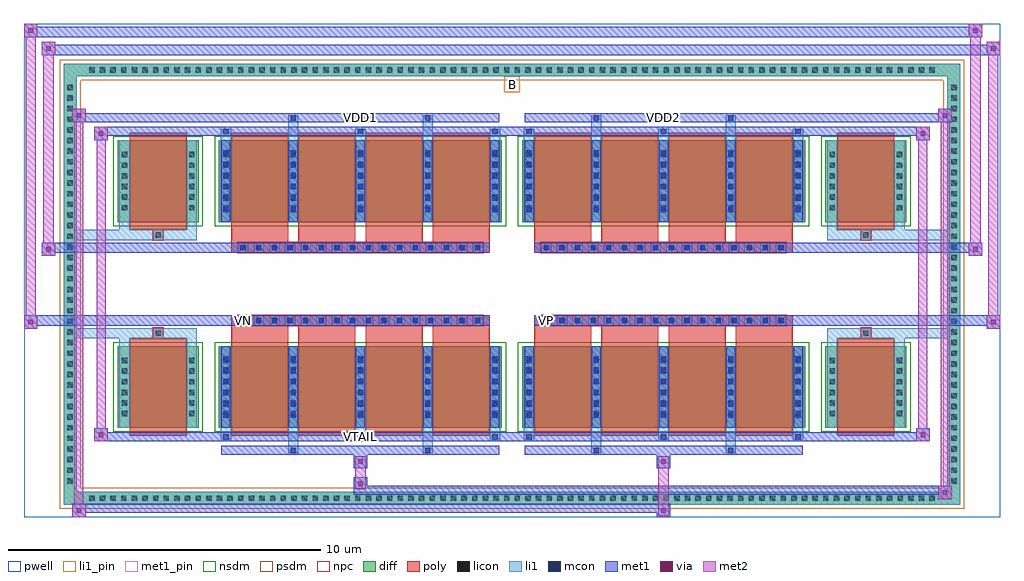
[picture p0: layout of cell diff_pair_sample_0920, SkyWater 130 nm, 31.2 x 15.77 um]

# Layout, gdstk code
import gdstk
lib = gdstk.Library(unit=1e-6, precision=5e-09)
def R(c, l, rs):  # rectangles x0, y0, x1, y1
    for r in rs: c.add(gdstk.rectangle(r[:2], r[2:], *l))
def A(c, l, x, y, w, h, nx, ny, dx, dy):  # array of equal rectangles
    R(c, l, [(x+i*dx, y+j*dy, x+i*dx+w, y+j*dy+h) for i in range(nx) for j in range(ny)])
def P(c, l, *ps):  # polygons
    for p in ps: c.add(gdstk.Polygon(p, *l))
pwell = (64, 44)
diff = (65, 20)
poly = (66, 20)
licon = (66, 44)
li1_pin = (67, 16)
li1 = (67, 20)
mcon = (67, 44)
met1_pin = (68, 16)
met1 = (68, 20)
via = (68, 44)
met2 = (69, 20)
nsdm = (93, 44)
psdm = (94, 20)
npc = (95, 20)

diff_pair_sample_0920 = lib.new_cell('diff_pair_sample_0920')
R(diff_pair_sample_0920, pwell, [(-15.6,-7.45,15.6,8.32), (-12.92,-5.64,-0.01,-0.8), (0.01,-5.64,12.92,-0.8), (-12.92,0.8,-0.01,5.64), (0.01,0.8,12.92,5.64)])
A(diff_pair_sample_0920, diff, -13.635, -7.05, 0.41, 0.41, 80, 2, 0.34, 13.69)
A(diff_pair_sample_0920, diff, -14.33, -6.495, 0.41, 0.41, 1, 38, 0, 0.34)
A(diff_pair_sample_0920, diff, 13.92, -6.495, 0.41, 0.41, 1, 38, 0, 0.34)
R(diff_pair_sample_0920, diff, [(-13.635,-7.05,13.635,-6.64), (-14.33,-6.495,-13.92,6.495), (13.92,-6.495,14.33,6.495), (-12.61,-4.595,-10.01,-1.985), (-9.37,-4.595,-0.32,-1.985), (0.32,-4.595,9.37,-1.985), (10.01,-4.595,12.61,-1.985), (-12.61,1.985,-10.01,4.595), (-9.37,1.985,-0.32,4.595), (0.32,1.985,9.37,4.595), (10.01,1.985,12.61,4.595), (-13.635,6.64,13.635,7.05)])
P(diff_pair_sample_0920, diff, [(14.33,7.05),(-14.33,7.05),(-14.33,-6.64),(-13.92,-6.64),(-13.92,6.64),(13.92,6.64),(13.92,-6.64),(-13.92,-6.64),(-14.33,-6.64),(-14.33,-7.05),(14.33,-7.05)])
A(diff_pair_sample_0920, poly, -8.98, -4.845, 1.82, 3.11, 4, 2, 2.15, 6.58)
A(diff_pair_sample_0920, poly, 0.71, -4.845, 1.82, 3.11, 4, 2, 2.15, 6.58)
A(diff_pair_sample_0920, poly, -8.98, -1.735, 1.82, 0.405, 4, 2, 2.15, 3.065)
A(diff_pair_sample_0920, poly, 0.71, -1.735, 1.82, 0.405, 4, 2, 2.15, 3.065)
A(diff_pair_sample_0920, poly, -8.76, -1.33, 0.33, 0.33, 16, 2, 0.5, 2.33)
A(diff_pair_sample_0920, poly, 0.93, -1.33, 0.33, 0.33, 16, 2, 0.5, 2.33)
R(diff_pair_sample_0920, poly, [(-12.22,-4.845,-10.4,-1.735), (10.4,-4.845,12.22,-1.735), (-11.475,-1.735,-11.145,-1.405), (-11.475,-1.735,-11.145,-1.405), (11.145,-1.735,11.475,-1.405), (11.145,-1.735,11.475,-1.405), (-8.98,-1.33,-0.71,-1), (0.71,-1.33,8.98,-1), (-8.98,1,-0.71,1.33), (0.71,1,8.98,1.33), (-11.475,1.405,-11.145,1.735), (-11.475,1.405,-11.145,1.735), (11.145,1.405,11.475,1.735), (11.145,1.405,11.475,1.735), (-12.22,1.735,-10.4,4.845), (10.4,1.735,12.22,4.845)])
A(diff_pair_sample_0920, licon, -13.515, -6.93, 0.17, 0.17, 80, 2, 0.34, 13.69)
A(diff_pair_sample_0920, licon, -14.21, -6.375, 0.17, 0.17, 1, 38, 0, 0.34)
A(diff_pair_sample_0920, licon, 14.04, -6.375, 0.17, 0.17, 1, 38, 0, 0.34)
A(diff_pair_sample_0920, licon, -12.47, -4.225, 0.17, 0.17, 1, 6, 0, 0.34)
A(diff_pair_sample_0920, licon, -10.32, -4.225, 0.17, 0.17, 1, 6, 0, 0.34)
A(diff_pair_sample_0920, licon, -9.23, -4.225, 0.17, 0.17, 5, 6, 2.15, 0.34)
A(diff_pair_sample_0920, licon, 0.46, -4.225, 0.17, 0.17, 5, 6, 2.15, 0.34)
A(diff_pair_sample_0920, licon, 10.15, -4.225, 0.17, 0.17, 1, 6, 0, 0.34)
A(diff_pair_sample_0920, licon, 12.3, -4.225, 0.17, 0.17, 1, 6, 0, 0.34)
A(diff_pair_sample_0920, licon, -8.68, -1.25, 0.17, 0.17, 16, 2, 0.5, 2.33)
A(diff_pair_sample_0920, licon, 1.01, -1.25, 0.17, 0.17, 16, 2, 0.5, 2.33)
A(diff_pair_sample_0920, licon, -12.47, 2.355, 0.17, 0.17, 1, 6, 0, 0.34)
A(diff_pair_sample_0920, licon, -10.32, 2.355, 0.17, 0.17, 1, 6, 0, 0.34)
A(diff_pair_sample_0920, licon, -9.23, 2.355, 0.17, 0.17, 5, 6, 2.15, 0.34)
A(diff_pair_sample_0920, licon, 0.46, 2.355, 0.17, 0.17, 5, 6, 2.15, 0.34)
A(diff_pair_sample_0920, licon, 10.15, 2.355, 0.17, 0.17, 1, 6, 0, 0.34)
A(diff_pair_sample_0920, licon, 12.3, 2.355, 0.17, 0.17, 1, 6, 0, 0.34)
R(diff_pair_sample_0920, licon, [(-11.395,-1.655,-11.225,-1.485), (11.225,-1.655,11.395,-1.485), (-11.395,1.485,-11.225,1.655), (11.225,1.485,11.395,1.655)])
R(diff_pair_sample_0920, li1_pin, [(-0.25,6.14,0.25,6.64)])
A(diff_pair_sample_0920, li1, -13.595, -7.01, 0.33, 0.33, 80, 2, 0.34, 13.69)
A(diff_pair_sample_0920, li1, -14.29, -6.455, 0.33, 0.33, 1, 38, 0, 0.34)
A(diff_pair_sample_0920, li1, 13.96, -6.455, 0.33, 0.33, 1, 38, 0, 0.34)
A(diff_pair_sample_0920, li1, -9.31, -4.97, 0.33, 0.375, 3, 2, 4.3, 9.565)
A(diff_pair_sample_0920, li1, -9.23, -4.97, 0.17, 0.17, 3, 2, 4.3, 9.77)
A(diff_pair_sample_0920, li1, 0.38, -4.97, 0.33, 0.375, 3, 2, 4.3, 9.565)
A(diff_pair_sample_0920, li1, 0.46, -4.97, 0.17, 0.17, 3, 2, 4.3, 9.77)
A(diff_pair_sample_0920, li1, -9.31, -4.595, 0.33, 2.61, 5, 2, 2.15, 6.58)
A(diff_pair_sample_0920, li1, 0.38, -4.595, 0.33, 2.61, 5, 2, 2.15, 6.58)
A(diff_pair_sample_0920, li1, -12.55, -4.305, 0.33, 0.33, 1, 6, 0, 0.34)
A(diff_pair_sample_0920, li1, -10.4, -4.305, 0.33, 0.33, 1, 6, 0, 0.34)
A(diff_pair_sample_0920, li1, -9.31, -4.305, 0.33, 0.33, 5, 6, 2.15, 0.34)
A(diff_pair_sample_0920, li1, 0.38, -4.305, 0.33, 0.33, 5, 6, 2.15, 0.34)
A(diff_pair_sample_0920, li1, 10.07, -4.305, 0.33, 0.33, 1, 6, 0, 0.34)
A(diff_pair_sample_0920, li1, 12.22, -4.305, 0.33, 0.33, 1, 6, 0, 0.34)
A(diff_pair_sample_0920, li1, -9.23, -4.275, 0.17, 0.17, 5, 6, 2.15, 0.36)
A(diff_pair_sample_0920, li1, -9.23, -4.275, 0.17, 1.97, 5, 2, 2.15, 6.58)
A(diff_pair_sample_0920, li1, 0.46, -4.275, 0.17, 0.17, 5, 6, 2.15, 0.36)
A(diff_pair_sample_0920, li1, 0.46, -4.275, 0.17, 1.97, 5, 2, 2.15, 6.58)
A(diff_pair_sample_0920, li1, -8.76, -1.33, 0.33, 0.33, 16, 2, 0.5, 2.33)
A(diff_pair_sample_0920, li1, 0.93, -1.33, 0.33, 0.33, 16, 2, 0.5, 2.33)
A(diff_pair_sample_0920, li1, -12.55, 2.275, 0.33, 0.33, 1, 6, 0, 0.34)
A(diff_pair_sample_0920, li1, -10.4, 2.275, 0.33, 0.33, 1, 6, 0, 0.34)
A(diff_pair_sample_0920, li1, -9.31, 2.275, 0.33, 0.33, 5, 6, 2.15, 0.34)
A(diff_pair_sample_0920, li1, 0.38, 2.275, 0.33, 0.33, 5, 6, 2.15, 0.34)
A(diff_pair_sample_0920, li1, 10.07, 2.275, 0.33, 0.33, 1, 6, 0, 0.34)
A(diff_pair_sample_0920, li1, 12.22, 2.275, 0.33, 0.33, 1, 6, 0, 0.34)
A(diff_pair_sample_0920, li1, -9.23, 2.305, 0.17, 0.17, 5, 6, 2.15, 0.36)
A(diff_pair_sample_0920, li1, 0.46, 2.305, 0.17, 0.17, 5, 6, 2.15, 0.36)
R(diff_pair_sample_0920, li1, [(-14.33,-7.05,-13.92,-6.64), (-14.33,-7.05,-13.92,-6.64), (-13.92,-7.05,13.92,-6.64), (13.92,-7.05,14.33,-6.64), (13.92,-7.05,14.33,-6.64), (-14.33,-6.64,-13.92,6.64), (13.92,-6.64,14.33,6.64), (-7.16,-5.4,-6.83,-4.595), (-7.08,-5.4,-6.91,-5.23), (-2.86,-5.4,-2.53,-4.595), (-2.78,-5.4,-2.61,-5.23), (2.53,-5.4,2.86,-4.595), (2.61,-5.4,2.78,-5.23), (6.83,-5.4,7.16,-4.595), (6.91,-5.4,7.08,-5.23), (-12.55,-4.595,-12.22,-1.985), (-10.4,-4.595,-10.07,-1.985), (10.07,-4.595,10.4,-1.985), (12.22,-4.595,12.55,-1.985), (-12.55,-1.985,-12.22,-1.405), (-10.4,-1.985,-10.07,-1.405), (10.07,-1.985,10.4,-1.405), (12.22,-1.985,12.55,-1.405), (-14.33,-1.735,-11.475,-1.405), (-12.55,-1.735,-11.475,-1.405), (-11.475,-1.735,-11.145,-1.405), (-11.145,-1.735,-10.07,-1.405), (10.07,-1.735,11.145,-1.405), (11.145,-1.735,11.475,-1.405), (11.145,-1.735,14.33,-1.405), (11.475,-1.735,12.55,-1.405), (-14.33,1.405,-11.475,1.735), (-12.55,1.405,-11.475,1.735), (-12.55,1.405,-12.22,1.985), (-11.475,1.405,-11.145,1.735), (-11.145,1.405,-10.07,1.735), (-10.4,1.405,-10.07,1.985), (10.07,1.405,11.145,1.735), (10.07,1.405,10.4,1.985), (11.145,1.405,11.475,1.735), (11.145,1.405,14.33,1.735), (11.475,1.405,12.55,1.735), (12.22,1.405,12.55,1.985), (-12.55,1.985,-12.22,4.595), (-10.4,1.985,-10.07,4.595), (10.07,1.985,10.4,4.595), (12.22,1.985,12.55,4.595), (-7.16,4.595,-6.83,5.4), (-2.86,4.595,-2.53,5.4), (2.53,4.595,2.86,5.4), (6.83,4.595,7.16,5.4), (-7.08,5.23,-6.91,5.4), (-2.78,5.23,-2.61,5.4), (2.61,5.23,2.78,5.4), (6.91,5.23,7.08,5.4), (-14.33,6.64,-13.92,7.05), (-14.33,6.64,-13.92,7.05), (-13.92,6.64,13.92,7.05), (13.92,6.64,14.33,7.05), (13.92,6.64,14.33,7.05)])
A(diff_pair_sample_0920, mcon, -9.23, -4.97, 0.17, 0.17, 3, 2, 4.3, 9.77)
A(diff_pair_sample_0920, mcon, 0.46, -4.97, 0.17, 0.17, 3, 2, 4.3, 9.77)
A(diff_pair_sample_0920, mcon, -9.23, -4.275, 0.17, 0.17, 5, 6, 2.15, 0.36)
A(diff_pair_sample_0920, mcon, 0.46, -4.275, 0.17, 0.17, 5, 6, 2.15, 0.36)
A(diff_pair_sample_0920, mcon, -8.68, -1.25, 0.17, 0.17, 16, 2, 0.5, 2.33)
A(diff_pair_sample_0920, mcon, 1.01, -1.25, 0.17, 0.17, 16, 2, 0.5, 2.33)
A(diff_pair_sample_0920, mcon, -9.23, 2.305, 0.17, 0.17, 5, 6, 2.15, 0.36)
A(diff_pair_sample_0920, mcon, 0.46, 2.305, 0.17, 0.17, 5, 6, 2.15, 0.36)
R(diff_pair_sample_0920, mcon, [(-7.08,-5.4,-6.91,-5.23), (-2.78,-5.4,-2.61,-5.23), (2.61,-5.4,2.78,-5.23), (6.91,-5.4,7.08,-5.23), (-7.08,5.23,-6.91,5.4), (-2.78,5.23,-2.61,5.4), (2.61,5.23,2.78,5.4), (6.91,5.23,7.08,5.4)])
R(diff_pair_sample_0920, met1_pin, [(-4.98,-5.01,-4.71,-4.74), (-8.73,-1.29,-8.46,-1.02), (0.96,-1.29,1.23,-1.02), (-4.98,5.19,-4.71,5.46), (4.71,5.19,4.98,5.46)])
A(diff_pair_sample_0920, met1, -9.29, -5.03, 0.29, 0.29, 3, 2, 4.3, 9.77)
A(diff_pair_sample_0920, met1, 0.4, -5.03, 0.29, 0.29, 3, 2, 4.3, 9.77)
A(diff_pair_sample_0920, met1, -9.29, -4.595, 0.29, 2.61, 5, 2, 2.15, 6.58)
A(diff_pair_sample_0920, met1, 0.4, -4.595, 0.29, 2.61, 5, 2, 2.15, 6.58)
A(diff_pair_sample_0920, met1, -9.29, -4.335, 0.29, 0.29, 5, 6, 2.15, 0.36)
A(diff_pair_sample_0920, met1, 0.4, -4.335, 0.29, 0.29, 5, 6, 2.15, 0.36)
A(diff_pair_sample_0920, met1, -8.74, -1.31, 0.29, 0.29, 16, 2, 0.5, 2.33)
A(diff_pair_sample_0920, met1, 0.95, -1.31, 0.29, 0.29, 16, 2, 0.5, 2.33)
A(diff_pair_sample_0920, met1, -9.29, 2.245, 0.29, 0.29, 5, 6, 2.15, 0.36)
A(diff_pair_sample_0920, met1, 0.4, 2.245, 0.29, 0.29, 5, 6, 2.15, 0.36)
R(diff_pair_sample_0920, met1, [(-14.06,-7.45,-13.63,-7.02), (4.63,-7.45,5.06,-7.02), (-14.06,-7.31,5.06,-7.02), (13.63,-6.88,14.06,-6.45), (-5.06,-6.74,14.06,-6.45), (-5.06,-6.6,-4.63,-6.17), (-5.06,-5.89,-4.63,-5.46), (4.63,-5.89,5.06,-5.46), (-9.29,-5.46,-0.4,-5.17), (-7.14,-5.46,-6.85,-5.17), (-2.84,-5.46,-2.55,-5.17), (0.4,-5.46,9.29,-5.17), (2.55,-5.46,2.84,-5.17), (6.85,-5.46,7.14,-5.17), (-13.35,-5.03,-12.92,-4.6), (-13.35,-5.03,-9.29,-4.74), (-9.29,-5.03,-0.4,-4.74), (-0.4,-5.03,0.4,-4.74), (0.4,-5.03,9.29,-4.74), (9.29,-5.03,13.35,-4.74), (12.92,-5.03,13.35,-4.6), (-15.6,-1.43,-15.17,-1), (15.17,-1.43,15.6,-1), (-15.6,-1.33,-0.71,-1), (-8.98,-1.33,-0.71,-1), (0.71,-1.33,8.98,-1), (0.71,-1.33,15.6,-1), (-15.03,0.9,-14.6,1.33), (14.6,0.9,15.03,1.33), (-15.03,1,-8.98,1.33), (-8.98,1,-0.71,1.33), (0.71,1,8.98,1.33), (8.98,1,15.03,1.33), (-13.35,4.6,-12.92,5.03), (12.92,4.6,13.35,5.03), (-13.35,4.74,-9.29,5.03), (-9.29,4.74,-0.4,5.03), (-0.4,4.74,0.4,5.03), (0.4,4.74,9.29,5.03), (9.29,4.74,13.35,5.03), (-14.06,5.17,-13.63,5.6), (-14.06,5.17,-9.29,5.46), (-9.29,5.17,-0.4,5.46), (-7.14,5.17,-6.85,5.46), (-2.84,5.17,-2.55,5.46), (0.4,5.17,9.29,5.46), (2.55,5.17,2.84,5.46), (6.85,5.17,7.14,5.46), (9.29,5.17,14.06,5.46), (13.63,5.17,14.06,5.6), (-15.03,7.32,-14.6,7.75), (-15.03,7.32,-12.92,7.65), (-12.92,7.32,12.92,7.65), (12.92,7.32,15.6,7.65), (15.17,7.32,15.6,7.75), (-15.6,7.89,-15.17,8.32), (-15.6,7.89,-12.92,8.22), (-12.92,7.89,12.92,8.22), (12.92,7.89,15.03,8.22), (14.6,7.89,15.03,8.32)])
R(diff_pair_sample_0920, via, [(-13.92,-7.31,-13.77,-7.16), (4.77,-7.31,4.92,-7.16), (13.77,-6.74,13.92,-6.59), (-4.92,-6.46,-4.77,-6.31), (-4.92,-5.75,-4.77,-5.6), (4.77,-5.75,4.92,-5.6), (-13.21,-4.89,-13.06,-4.74), (13.06,-4.89,13.21,-4.74), (-15.46,-1.29,-15.31,-1.14), (15.31,-1.29,15.46,-1.14), (-14.89,1.04,-14.74,1.19), (14.74,1.04,14.89,1.19), (-13.21,4.74,-13.06,4.89), (13.06,4.74,13.21,4.89), (-13.92,5.31,-13.77,5.46), (13.77,5.31,13.92,5.46), (-14.89,7.46,-14.74,7.61), (15.31,7.46,15.46,7.61), (-15.46,8.03,-15.31,8.18), (14.74,8.03,14.89,8.18)])
R(diff_pair_sample_0920, met2, [(-14.06,-7.45,-13.63,-7.02), (-13.99,-7.45,-13.7,5.6), (-13.7,-7.45,-13.63,-7.02), (-14.01,-7.4,-13.68,-7.07), (4.68,-7.4,5.01,-7.07), (4.68,-7.07,5.01,-5.84), (13.63,-6.88,14.06,-6.45), (13.7,-6.88,13.99,5.6), (13.99,-6.88,14.06,-6.45), (13.68,-6.83,14.01,-6.5), (-5.01,-6.55,-4.68,-6.22), (-5.01,-6.22,-4.68,-5.84), (-5.01,-5.84,-4.68,-5.51), (4.68,-5.84,5.01,-5.51), (-13.35,-5.03,-12.92,-4.6), (-13.28,-5.03,-12.99,5.03), (-12.99,-5.03,-12.92,-4.6), (12.92,-5.03,13.35,-4.6), (12.99,-5.03,13.28,5.03), (13.28,-5.03,13.35,-4.6), (-13.3,-4.98,-12.97,-4.65), (12.97,-4.98,13.3,-4.65), (-15.6,-1.43,-15.17,-1), (-15.55,-1.43,-15.22,8.32), (-15.22,-1.43,-15.17,-1), (15.17,-1.43,15.6,-1), (15.22,-1.43,15.55,7.75), (15.55,-1.43,15.6,-1), (-15.55,-1.38,-15.22,-1.05), (15.22,-1.38,15.55,-1.05), (-15.03,0.9,-14.6,1.33), (-14.98,0.9,-14.65,7.75), (-14.65,0.9,-14.6,1.33), (14.6,0.9,15.03,1.33), (14.65,0.9,14.98,8.32), (14.98,0.9,15.03,1.33), (-14.98,0.95,-14.65,1.28), (14.65,0.95,14.98,1.28), (-13.35,4.6,-12.92,5.03), (-12.99,4.6,-12.92,5.03), (12.92,4.6,13.35,5.03), (13.28,4.6,13.35,5.03), (-13.3,4.65,-12.97,4.98), (12.97,4.65,13.3,4.98), (-14.06,5.17,-13.63,5.6), (-13.7,5.17,-13.63,5.6), (13.63,5.17,14.06,5.6), (13.99,5.17,14.06,5.6), (-14.01,5.22,-13.68,5.55), (13.68,5.22,14.01,5.55), (-15.03,7.32,-14.6,7.75), (-14.65,7.32,-14.6,7.75), (15.17,7.32,15.6,7.75), (15.55,7.32,15.6,7.75), (-14.98,7.37,-14.65,7.7), (15.22,7.37,15.55,7.7), (-15.6,7.89,-15.17,8.32), (-15.22,7.89,-15.17,8.32), (14.6,7.89,15.03,8.32), (14.98,7.89,15.03,8.32), (-15.55,7.94,-15.22,8.27), (14.65,7.94,14.98,8.27)])
R(diff_pair_sample_0920, nsdm, [(-12.74,-4.725,-9.88,-1.855), (-9.5,-4.725,-0.19,-1.855), (0.19,-4.725,9.5,-1.855), (9.88,-4.725,12.74,-1.855), (-12.74,1.855,-9.88,4.725), (-9.5,1.855,-0.19,4.725), (0.19,1.855,9.5,4.725), (9.88,1.855,12.74,4.725)])
P(diff_pair_sample_0920, psdm, [(14.46,7.18),(-14.46,7.18),(-14.46,-6.51),(-13.79,-6.51),(-13.79,6.51),(13.79,6.51),(13.79,-6.51),(-13.79,-6.51),(-14.46,-6.51),(-14.46,-7.18),(14.46,-7.18)])
A(diff_pair_sample_0920, npc, -8.78, -1.35, 0.37, 0.37, 16, 2, 0.5, 2.33)
A(diff_pair_sample_0920, npc, 0.91, -1.35, 0.37, 0.37, 16, 2, 0.5, 2.33)
R(diff_pair_sample_0920, npc, [(-11.495,-1.755,-11.125,-1.385), (11.125,-1.755,11.495,-1.385), (-8.78,-1.35,-7.91,-0.98), (-8.78,-1.35,-7.91,-0.98), (-8.28,-1.35,-7.41,-0.98), (-8.28,-1.35,-7.41,-0.98), (-7.78,-1.35,-6.91,-0.98), (-7.78,-1.35,-6.91,-0.98), (-7.28,-1.35,-6.41,-0.98), (-7.28,-1.35,-6.41,-0.98), (-6.78,-1.35,-5.91,-0.98), (-6.78,-1.35,-5.91,-0.98), (-6.28,-1.35,-5.41,-0.98), (-6.28,-1.35,-5.41,-0.98), (-5.78,-1.35,-4.91,-0.98), (-5.78,-1.35,-4.91,-0.98), (-5.28,-1.35,-4.41,-0.98), (-5.28,-1.35,-4.41,-0.98), (-4.78,-1.35,-3.91,-0.98), (-4.78,-1.35,-3.91,-0.98), (-4.28,-1.35,-3.41,-0.98), (-4.28,-1.35,-3.41,-0.98), (-3.78,-1.35,-2.91,-0.98), (-3.78,-1.35,-2.91,-0.98), (-3.28,-1.35,-2.41,-0.98), (-3.28,-1.35,-2.41,-0.98), (-2.78,-1.35,-1.91,-0.98), (-2.78,-1.35,-1.91,-0.98), (-2.28,-1.35,-1.41,-0.98), (-2.28,-1.35,-1.41,-0.98), (-1.78,-1.35,-0.91,-0.98), (-1.78,-1.35,-0.91,-0.98), (0.91,-1.35,1.78,-0.98), (0.91,-1.35,1.78,-0.98), (1.41,-1.35,2.28,-0.98), (1.41,-1.35,2.28,-0.98), (1.91,-1.35,2.78,-0.98), (1.91,-1.35,2.78,-0.98), (2.41,-1.35,3.28,-0.98), (2.41,-1.35,3.28,-0.98), (2.91,-1.35,3.78,-0.98), (2.91,-1.35,3.78,-0.98), (3.41,-1.35,4.28,-0.98), (3.41,-1.35,4.28,-0.98), (3.91,-1.35,4.78,-0.98), (3.91,-1.35,4.78,-0.98), (4.41,-1.35,5.28,-0.98), (4.41,-1.35,5.28,-0.98), (4.91,-1.35,5.78,-0.98), (4.91,-1.35,5.78,-0.98), (5.41,-1.35,6.28,-0.98), (5.41,-1.35,6.28,-0.98), (5.91,-1.35,6.78,-0.98), (5.91,-1.35,6.78,-0.98), (6.41,-1.35,7.28,-0.98), (6.41,-1.35,7.28,-0.98), (6.91,-1.35,7.78,-0.98), (6.91,-1.35,7.78,-0.98), (7.41,-1.35,8.28,-0.98), (7.41,-1.35,8.28,-0.98), (7.91,-1.35,8.78,-0.98), (7.91,-1.35,8.78,-0.98), (-8.78,0.98,-7.91,1.35), (-8.78,0.98,-7.91,1.35), (-8.28,0.98,-7.41,1.35), (-8.28,0.98,-7.41,1.35), (-7.78,0.98,-6.91,1.35), (-7.78,0.98,-6.91,1.35), (-7.28,0.98,-6.41,1.35), (-7.28,0.98,-6.41,1.35), (-6.78,0.98,-5.91,1.35), (-6.78,0.98,-5.91,1.35), (-6.28,0.98,-5.41,1.35), (-6.28,0.98,-5.41,1.35), (-5.78,0.98,-4.91,1.35), (-5.78,0.98,-4.91,1.35), (-5.28,0.98,-4.41,1.35), (-5.28,0.98,-4.41,1.35), (-4.78,0.98,-3.91,1.35), (-4.78,0.98,-3.91,1.35), (-4.28,0.98,-3.41,1.35), (-4.28,0.98,-3.41,1.35), (-3.78,0.98,-2.91,1.35), (-3.78,0.98,-2.91,1.35), (-3.28,0.98,-2.41,1.35), (-3.28,0.98,-2.41,1.35), (-2.78,0.98,-1.91,1.35), (-2.78,0.98,-1.91,1.35), (-2.28,0.98,-1.41,1.35), (-2.28,0.98,-1.41,1.35), (-1.78,0.98,-0.91,1.35), (-1.78,0.98,-0.91,1.35), (0.91,0.98,1.78,1.35), (0.91,0.98,1.78,1.35), (1.41,0.98,2.28,1.35), (1.41,0.98,2.28,1.35), (1.91,0.98,2.78,1.35), (1.91,0.98,2.78,1.35), (2.41,0.98,3.28,1.35), (2.41,0.98,3.28,1.35), (2.91,0.98,3.78,1.35), (2.91,0.98,3.78,1.35), (3.41,0.98,4.28,1.35), (3.41,0.98,4.28,1.35), (3.91,0.98,4.78,1.35), (3.91,0.98,4.78,1.35), (4.41,0.98,5.28,1.35), (4.41,0.98,5.28,1.35), (4.91,0.98,5.78,1.35), (4.91,0.98,5.78,1.35), (5.41,0.98,6.28,1.35), (5.41,0.98,6.28,1.35), (5.91,0.98,6.78,1.35), (5.91,0.98,6.78,1.35), (6.41,0.98,7.28,1.35), (6.41,0.98,7.28,1.35), (6.91,0.98,7.78,1.35), (6.91,0.98,7.78,1.35), (7.41,0.98,8.28,1.35), (7.41,0.98,8.28,1.35), (7.91,0.98,8.78,1.35), (7.91,0.98,8.78,1.35), (-11.495,1.385,-11.125,1.755), (11.125,1.385,11.495,1.755)])
diff_pair_sample_0920.add(gdstk.Label('VTAIL', (-4.845,-4.875), layer=68, texttype=5))
diff_pair_sample_0920.add(gdstk.Label('VN', (-8.595,-1.155), layer=68, texttype=5))
diff_pair_sample_0920.add(gdstk.Label('VP', (1.095,-1.155), layer=68, texttype=5))
diff_pair_sample_0920.add(gdstk.Label('B', (0,6.39), layer=67, texttype=5))
diff_pair_sample_0920.add(gdstk.Label('VDD2', (4.845,5.325), layer=68, texttype=5))
diff_pair_sample_0920.add(gdstk.Label('VDD1', (-4.845,5.325), layer=68, texttype=5))

lib.write_gds('diff_pair_sample_0920.gds')
